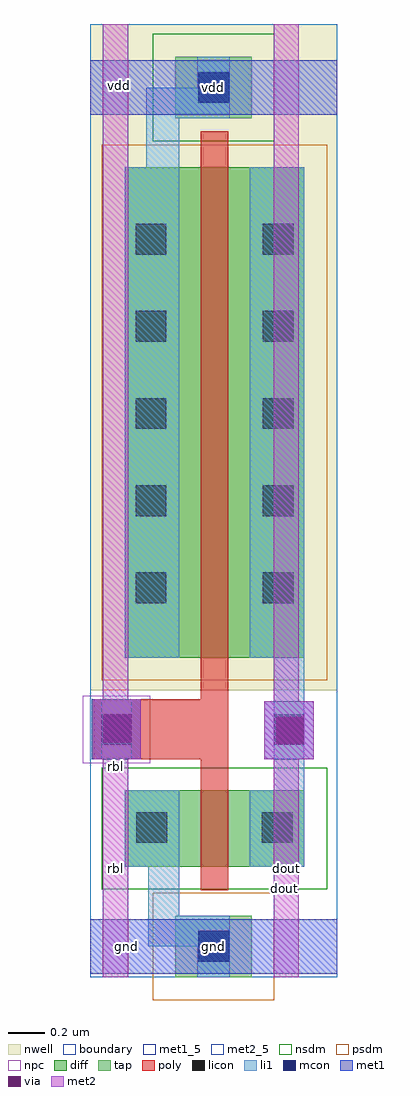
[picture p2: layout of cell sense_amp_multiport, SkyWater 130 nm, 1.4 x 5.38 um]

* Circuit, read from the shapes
.subckt sense_amp_multiport dout gnd rbl vdd
XM1 dout rbl gnd gnd sky130_fd_pr__nfet_01v8 w=0.42 l=0.15
XM2 dout rbl vdd vdd sky130_fd_pr__pfet_01v8 w=2.7 l=0.15
.ends

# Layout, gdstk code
import gdstk
lib = gdstk.Library(unit=1e-6, precision=1e-09)
def R(c, l, rs):  # rectangles x0, y0, x1, y1
    for r in rs: c.add(gdstk.rectangle(r[:2], r[2:], *l))
def A(c, l, x, y, w, h, nx, ny, dx, dy):  # array of equal rectangles
    R(c, l, [(x+i*dx, y+j*dy, x+i*dx+w, y+j*dy+h) for i in range(nx) for j in range(ny)])
nwell = (64, 20)
diff = (65, 20)
tap = (65, 44)
poly = (66, 20)
licon = (66, 44)
li1 = (67, 20)
mcon = (67, 44)
met1_5 = (68, 5)
met1 = (68, 20)
via = (68, 44)
met2_5 = (69, 5)
met2 = (69, 20)
nsdm = (93, 44)
psdm = (94, 20)
npc = (95, 20)
boundary = (235, 4)

sense_amp_multiport = lib.new_cell('sense_amp_multiport')
R(sense_amp_multiport, nwell, [(0,1.58,1.36,5.25)])
R(sense_amp_multiport, diff, [(0.19,0.61,1.18,1.03), (0.19,1.76,1.18,4.46)])
R(sense_amp_multiport, tap, [(0.47,0,0.89,0.34), (0.47,4.73,0.89,5.07)])
R(sense_amp_multiport, poly, [(0.61,0.48,0.76,1.2), (0.01,1.2,0.76,1.53), (0.61,1.53,0.76,4.66)])
A(sense_amp_multiport, licon, 0.25, 2.06, 0.17, 0.17, 1, 5, 0, 0.48)
A(sense_amp_multiport, licon, 0.95, 2.06, 0.17, 0.17, 1, 5, 0, 0.48)
R(sense_amp_multiport, licon, [(0.595,0.085,0.765,0.255), (0.255,0.74,0.425,0.91), (0.945,0.74,1.115,0.91), (0.06,1.28,0.23,1.45), (0.595,4.815,0.765,4.985)])
R(sense_amp_multiport, li1, [(0.59,0,0.77,0.17), (0.32,0.17,0.77,0.34), (0.32,0.34,0.49,0.61), (0.19,0.61,0.49,1.03), (0.88,0.61,1.18,1.03), (1.01,1.03,1.18,1.76), (0.06,1.2,0.23,1.53), (0.19,1.76,0.49,4.46), (0.88,1.76,1.18,4.46), (0.31,4.46,0.49,4.73), (0.31,4.73,0.77,4.9), (0.59,4.9,0.77,5.07)])
R(sense_amp_multiport, mcon, [(0.595,0.085,0.765,0.255), (0.06,1.28,0.23,1.45), (1.01,1.28,1.18,1.45), (0.595,4.815,0.765,4.985)])
R(sense_amp_multiport, met1_5, [(0,0.02,1.36,0.32), (0,4.75,1.36,5.05)])
R(sense_amp_multiport, met1, [(0,0.02,1.36,0.32), (0,0.02,1.36,0.32), (0.01,1.2,0.28,1.53), (0.96,1.2,1.23,1.52), (0,4.75,1.36,5.05), (0,4.75,1.36,5.05)])
R(sense_amp_multiport, via, [(1.025,1.285,1.175,1.435), (0.075,1.295,0.225,1.445)])
R(sense_amp_multiport, met2_5, [(0.07,0,0.21,1.2), (1.01,0,1.15,1.2)])
R(sense_amp_multiport, met2, [(0.07,0,0.21,1.2), (0.07,0,0.21,1.2), (1.01,0,1.15,1.2), (1.01,0,1.15,1.2), (0.02,1.2,0.28,1.53), (0.96,1.2,1.23,1.52), (1.01,1.52,1.15,5.25), (0.07,1.53,0.21,5.25)])
R(sense_amp_multiport, nsdm, [(0.065,0.485,1.305,1.155), (0.345,4.605,1.015,5.195)])
R(sense_amp_multiport, psdm, [(0.345,-0.125,1.015,0.465), (0.065,1.635,1.305,4.585)])
R(sense_amp_multiport, npc, [(-0.04,1.18,0.33,1.55)])
R(sense_amp_multiport, boundary, [(0,0,1.36,5.25)])
sense_amp_multiport.add(gdstk.Label('vdd', (0.16,4.91), layer=68, texttype=5))
sense_amp_multiport.add(gdstk.Label('gnd', (0.2,0.17), layer=68, texttype=5))
sense_amp_multiport.add(gdstk.Label('rbl', (0.14,1.16), layer=69, texttype=5))
sense_amp_multiport.add(gdstk.Label('dout', (1.07,0.49), layer=69, texttype=5))
sense_amp_multiport.add(gdstk.Label('rbl', (0.14,0.6), layer=69, texttype=20))
sense_amp_multiport.add(gdstk.Label('dout', (1.08,0.6), layer=69, texttype=20))
sense_amp_multiport.add(gdstk.Label('vdd', (0.68,4.9), layer=68, texttype=20))
sense_amp_multiport.add(gdstk.Label('gnd', (0.68,0.17), layer=68, texttype=20))

lib.write_gds('sense_amp_multiport.gds')
